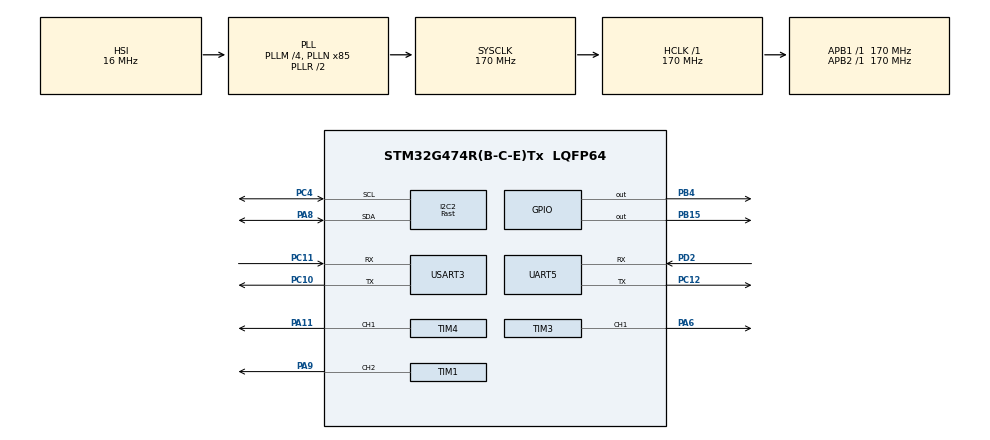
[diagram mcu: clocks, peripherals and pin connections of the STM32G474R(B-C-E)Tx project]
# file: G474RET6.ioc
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Dma.Request0=TIM1_CH2
Dma.TIM1_CH2.0.Direction=DMA_MEMORY_TO_PERIPH
Dma.TIM1_CH2.0.EventEnable=DISABLE
Dma.TIM1_CH2.0.Instance=DMA1_Channel1
Dma.TIM1_CH2.0.MemDataAlignment=DMA_MDATAALIGN_HALFWORD
Dma.TIM1_CH2.0.MemInc=DMA_MINC_ENABLE
Dma.TIM1_CH2.0.Mode=DMA_NORMAL
Dma.TIM1_CH2.0.PeriphDataAlignment=DMA_PDATAALIGN_HALFWORD
Dma.TIM1_CH2.0.PeriphInc=DMA_PINC_DISABLE
Dma.TIM1_CH2.0.Polarity=HAL_DMAMUX_REQ_GEN_RISING
Dma.TIM1_CH2.0.Priority=DMA_PRIORITY_LOW
Dma.TIM1_CH2.0.RequestNumber=1
Dma.TIM1_CH2.0.SignalID=NONE
Dma.TIM1_CH2.0.SyncEnable=DISABLE
Dma.TIM1_CH2.0.SyncPolarity=HAL_DMAMUX_SYNC_NO_EVENT
Dma.TIM1_CH2.0.SyncRequestNumber=1
Dma.TIM1_CH2.0.SyncSignalID=NONE
FREERTOS.Tasks01=defaultTask,8,512,StartDefaultTask,Default,NULL,Dynamic,NULL,NULL;uartTask,24,1024,StartUartTask,Default,NULL,Dynamic,NULL,NULL;sensorTask,45,512,StartSensorTask,Default,NULL,Dynamic,NULL,NULL;stateTask,36,512,StartStateTask,Default,NULL,Dynamic,NULL,NULL;postureTask,36,512,StartPostureTask,Default,NULL,Dynamic,NULL,NULL;envTask,27,512,StartEnvTask,Default,NULL,Dynamic,NULL,NULL;timerTask,27,512,StartTimerTask,Default,NULL,Dynamic,NULL,NULL;uiTask,9,1024,StartUiTask,Default,NULL,Dynamic,NULL,NULL;flashTask,9,512,StartFlashTask,Default,NULL,Dynamic,NULL,NULL
FREERTOS.configCHECK_FOR_STACK_OVERFLOW=2
FREERTOS.configENABLE_FPU=1
FREERTOS.configTOTAL_HEAP_SIZE=32768
FREERTOS.configUSE_IDLE_HOOK=1
FREERTOS.configUSE_MALLOC_FAILED_HOOK=1
I2C2.CustomTiming=Disabled
I2C2.I2C_Speed_Mode=I2C_Fast
I2C2.Timing=0x40621236
IWDG.Prescaler=IWDG_PRESCALER_64
Mcu.Family=STM32G4
Mcu.Name=STM32G474R(B-C-E)Tx
Mcu.Package=LQFP64
NVIC.DMA1_Channel1_IRQn=true\:5\:0\:false\:false\:true\:true\:false\:true\:true
NVIC.PriorityGroup=NVIC_PRIORITYGROUP_4
NVIC.RTC_Alarm_IRQn=true\:5\:0\:false\:false\:true\:true\:true\:true\:true
NVIC.TIM6_DAC_IRQn=true\:15\:0\:false\:false\:true\:false\:false\:true\:true
NVIC.TimeBase=TIM6_DAC_IRQn
NVIC.TimeBaseIP=TIM6
NVIC.UART5_IRQn=true\:5\:0\:false\:false\:true\:true\:true\:true\:true
NVIC.USART3_IRQn=true\:5\:0\:false\:false\:true\:true\:true\:true\:true
PA11.GPIO_Speed=GPIO_SPEED_FREQ_VERY_HIGH
PA11.Signal=S_TIM4_CH1
PA13.Mode=Serial_Wire
PA13.Signal=SYS_JTMS-SWDIO
PA14.Mode=Serial_Wire
PA14.Signal=SYS_JTCK-SWCLK
PA6.GPIO_Speed=GPIO_SPEED_FREQ_VERY_HIGH
PA6.Signal=S_TIM3_CH1
PA8.GPIO_Pu=GPIO_NOPULL
PA8.GPIO_Speed=GPIO_SPEED_FREQ_VERY_HIGH
PA8.Mode=I2C
PA8.Signal=I2C2_SDA
PA9.GPIO_Speed=GPIO_SPEED_FREQ_VERY_HIGH
PA9.Signal=S_TIM1_CH2
PB15.GPIO_ModeDefaultOutputPP=GPIO_MODE_OUTPUT_OD
PB15.GPIO_PuPd=GPIO_NOPULL
PB15.GPIO_Speed=GPIO_SPEED_FREQ_VERY_HIGH
PB15.PinState=GPIO_PIN_SET
PB15.Signal=GPIO_Output
PB4.GPIO_ModeDefaultOutputPP=GPIO_MODE_OUTPUT_PP
PB4.GPIO_PuPd=GPIO_NOPULL
PB4.GPIO_Speed=GPIO_SPEED_FREQ_MEDIUM
PB4.PinState=GPIO_PIN_RESET
PB4.Signal=GPIO_Output
PC10.GPIO_Speed=GPIO_SPEED_FREQ_VERY_HIGH
PC10.Mode=Asynchronous
PC10.Signal=USART3_TX
PC11.GPIO_PuPd=GPIO_PULLUP
PC11.GPIO_Speed=GPIO_SPEED_FREQ_VERY_HIGH
PC11.Mode=Asynchronous
PC11.Signal=USART3_RX
PC12.GPIO_Speed=GPIO_SPEED_FREQ_VERY_HIGH
PC12.Mode=Asynchronous
PC12.Signal=UART5_TX
PC14-OSC32_IN.Mode=LSE-External-Oscillator
PC14-OSC32_IN.Signal=RCC_OSC32_IN
PC15-OSC32_OUT.Mode=LSE-External-Oscillator
PC15-OSC32_OUT.Signal=RCC_OSC32_OUT
PC4.GPIO_Pu=GPIO_NOPULL
PC4.GPIO_Speed=GPIO_SPEED_FREQ_VERY_HIGH
PC4.Mode=I2C
PC4.Signal=I2C2_SCL
PD2.GPIO_PuPd=GPIO_PULLUP
PD2.GPIO_Speed=GPIO_SPEED_FREQ_VERY_HIGH
PD2.Mode=Asynchronous
PD2.Signal=UART5_RX
ProjectManager.HeapSize=0x200
ProjectManager.StackSize=0x400
ProjectManager.TargetToolchain=CMake
RCC.ADC12Freq_Value=170000000
RCC.ADC345Freq_Value=170000000
RCC.AHBFreq_Value=170000000
RCC.APB1Freq_Value=170000000
RCC.APB1TimFreq_Value=170000000
RCC.APB2Freq_Value=170000000
RCC.APB2TimFreq_Value=170000000
RCC.CortexFreq_Value=170000000
RCC.EXTERNAL_CLOCK_VALUE=12288000
RCC.HCLKFreq_Value=170000000
RCC.HSE_VALUE=8000000
RCC.HSI48_VALUE=48000000
RCC.HSI_VALUE=16000000
RCC.PLLM=RCC_PLLM_DIV4
RCC.PLLN=85
RCC.RTCClockSelection=RCC_RTCCLKSOURCE_LSE
RCC.SYSCLKFreq_VALUE=170000000
RCC.SYSCLKSource=RCC_SYSCLKSOURCE_PLLCLK
RCC.USBFreq_Value=170000000
RCC.VCOOutputFreq_Value=340000000
RTC.Alarm-Alarm\ A=RTC_ALARM_A
RTC.Format=RTC_FORMAT_BIN
SH.S_TIM1_CH2.0=TIM1_CH2,PWM Generation2 CH2
SH.S_TIM3_CH1.0=TIM3_CH1,PWM Generation1 CH1
SH.S_TIM4_CH1.0=TIM4_CH1,PWM Generation1 CH1
TIM1.AutoReloadPreload=TIM_AUTORELOAD_PRELOAD_ENABLE
TIM1.Channel-PWM\ Generation2\ CH2=TIM_CHANNEL_2
TIM1.PeriodNoDither=212
TIM1.TIM_MasterOutputTrigger=TIM_TRGO_RESET
TIM1.TIM_MasterOutputTrigger2=TIM_TRGO2_RESET
TIM3.Channel-PWM\ Generation1\ CH1=TIM_CHANNEL_1
TIM3.PeriodNoDither=42499
TIM3.PulseNoDither_1=21250
TIM4.AutoReloadPreload=TIM_AUTORELOAD_PRELOAD_ENABLE
TIM4.Channel-PWM\ Generation1\ CH1=TIM_CHANNEL_1
TIM4.PeriodNoDither=8500
TIM4.TIM_MasterOutputTrigger=TIM_TRGO_RESET
USART3.VirtualMode-Asynchronous=VM_ASYNC
VP_FREERTOS_VS_CMSIS_V2.Mode=CMSIS_V2
VP_IWDG_VS_IWDG.Mode=IWDG_Activate
VP_RTC_VS_RTC_Activate.Mode=RTC_Enabled
VP_RTC_VS_RTC_Alarm_A_Intern.Mode=Alarm A
VP_RTC_VS_RTC_Calendar.Mode=RTC_Calendar
VP_SYS_VS_DBSignals.Mode=DisableDeadBatterySignals
VP_SYS_VS_tim6.Mode=TIM6
VP_TIM1_VS_ClockSourceINT.Mode=Internal
VP_TIM3_VS_ClockSourceINT.Mode=Internal
VP_TIM4_VS_ClockSourceINT.Mode=Internal
board=custom

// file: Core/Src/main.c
/* USER CODE BEGIN Header */
/**
  ******************************************************************************
  * @file           : main.c
  * @brief          : Main program body
  ******************************************************************************
  * @attention
  *
  * Copyright (c) 2026 STMicroelectronics.
  * All rights reserved.
  *
  * This software is licensed under terms that can be found in the LICENSE file
  * in the root directory of this software component.
  * If no LICENSE file comes with this software, it is provided AS-IS.
  *
  ******************************************************************************
  */
/* USER CODE END Header */
#include "main.h"
#include "cmsis_os.h"

/* USER CODE BEGIN Includes */
#include "app_rtos.h"
#include "app_tasks.h"
/* USER CODE END Includes */

I2C_HandleTypeDef hi2c2;

IWDG_HandleTypeDef hiwdg;

RTC_HandleTypeDef hrtc;

TIM_HandleTypeDef htim1;
TIM_HandleTypeDef htim3;
TIM_HandleTypeDef htim4;
DMA_HandleTypeDef hdma_tim1_ch2;

UART_HandleTypeDef huart5;
UART_HandleTypeDef huart3;

/* Definitions for defaultTask */
osThreadId_t defaultTaskHandle;
const osThreadAttr_t defaultTask_attributes = {
  .name = "defaultTask",
  .priority = (osPriority_t) osPriorityLow,
  .stack_size = 512 * 4
};
/* Definitions for uartTask */
osThreadId_t uartTaskHandle;
const osThreadAttr_t uartTask_attributes = {
  .name = "uartTask",
  .priority = (osPriority_t) osPriorityNormal,
  .stack_size = 1024 * 4
};
/* Definitions for sensorTask */
osThreadId_t sensorTaskHandle;
const osThreadAttr_t sensorTask_attributes = {
  .name = "sensorTask",
  .priority = (osPriority_t) osPriorityHigh5,
  .stack_size = 512 * 4
};
/* Definitions for stateTask */
osThreadId_t stateTaskHandle;
const osThreadAttr_t stateTask_attributes = {
  .name = "stateTask",
  .priority = (osPriority_t) osPriorityAboveNormal4,
  .stack_size = 512 * 4
};
/* Definitions for postureTask */
osThreadId_t postureTaskHandle;
const osThreadAttr_t postureTask_attributes = {
  .name = "postureTask",
  .priority = (osPriority_t) osPriorityAboveNormal4,
  .stack_size = 512 * 4
};
/* Definitions for envTask */
osThreadId_t envTaskHandle;
const osThreadAttr_t envTask_attributes = {
  .name = "envTask",
  .priority = (osPriority_t) osPriorityNormal3,
  .stack_size = 512 * 4
};
/* Definitions for timerTask */
osThreadId_t timerTaskHandle;
const osThreadAttr_t timerTask_attributes = {
  .name = "timerTask",
  .priority = (osPriority_t) osPriorityNormal3,
  .stack_size = 512 * 4
};
/* Definitions for uiTask */
osThreadId_t uiTaskHandle;
const osThreadAttr_t uiTask_attributes = {
  .name = "uiTask",
  .priority = (osPriority_t) osPriorityLow1,
  .stack_size = 1024 * 4
};
/* Definitions for flashTask */
osThreadId_t flashTaskHandle;
const osThreadAttr_t flashTask_attributes = {
  .name = "flashTask",
  .priority = (osPriority_t) osPriorityLow1,
  .stack_size = 512 * 4
};
/* Definitions for initTask */
osThreadId_t initTaskHandle;
const osThreadAttr_t initTask_attributes = {
  .name = "initTask",
  .priority = (osPriority_t) osPriorityAboveNormal2,
  .stack_size = 512 * 4
};

void SystemClock_Config(void);
static void MX_GPIO_Init(void);
static void MX_DMA_Init(void);
static void MX_I2C2_Init(void);
static void MX_TIM1_Init(void);
static void MX_UART5_Init(void);
static void MX_USART3_UART_Init(void);
static void MX_TIM3_Init(void);
static void MX_TIM4_Init(void);
static void MX_IWDG_Init(void);
static void MX_RTC_Init(void);
void StartDefaultTask(void *argument);
void StartUartTask(void *argument);
void StartSensorTask(void *argument);
void StartStateTask(void *argument);
void StartPostureTask(void *argument);
void StartEnvTask(void *argument);
void StartTimerTask(void *argument);
void StartUiTask(void *argument);
void StartFlashTask(void *argument);
void StartInitTask(void *argument);

int main(void)
{

  /* MCU Configuration--------------------------------------------------------*/

  /* Reset of all peripherals, Initializes the Flash interface and the Systick. */
  HAL_Init();

  /* Configure the system clock */
  SystemClock_Config();

  /* Initialize all configured peripherals */
  MX_GPIO_Init();
  MX_DMA_Init();
  MX_I2C2_Init();
  MX_TIM1_Init();
  MX_UART5_Init();
  MX_USART3_UART_Init();
  MX_TIM3_Init();
  MX_TIM4_Init();
  MX_IWDG_Init();
  MX_RTC_Init();

  /* Init scheduler */
  osKernelInitialize();

  /* USER CODE BEGIN RTOS_QUEUES */
  /* add queues, ... */
  App_Init();   /* 创建队列/互斥, 初始化 BSP 与各服务 */
  /* USER CODE END RTOS_QUEUES */

  /* Create the thread(s) */
  /* creation of defaultTask */
  defaultTaskHandle = osThreadNew(StartDefaultTask, NULL, &defaultTask_attributes);

  /* creation of uartTask */
  uartTaskHandle = osThreadNew(StartUartTask, NULL, &uartTask_attributes);

  /* creation of sensorTask */
  sensorTaskHandle = osThreadNew(StartSensorTask, NULL, &sensorTask_attributes);

  /* creation of stateTask */
  stateTaskHandle = osThreadNew(StartStateTask, NULL, &stateTask_attributes);

  /* creation of postureTask */
  postureTaskHandle = osThreadNew(StartPostureTask, NULL, &postureTask_attributes);

  /* creation of envTask */
  envTaskHandle = osThreadNew(StartEnvTask, NULL, &envTask_attributes);

  /* creation of timerTask */
  timerTaskHandle = osThreadNew(StartTimerTask, NULL, &timerTask_attributes);

  /* creation of uiTask */
  uiTaskHandle = osThreadNew(StartUiTask, NULL, &uiTask_attributes);

  /* creation of flashTask */
  flashTaskHandle = osThreadNew(StartFlashTask, NULL, &flashTask_attributes);

  /* creation of initTask: 调度器启动后初始化 I2C 外设(避免调度器前互斥卡死) */
  initTaskHandle = osThreadNew(StartInitTask, NULL, &initTask_attributes);

  /* Start scheduler */
  osKernelStart();

  /* We should never get here as control is now taken by the scheduler */

  /* Infinite loop */
  while (1)
  {

  }
}

void SystemClock_Config(void)
{
  RCC_OscInitTypeDef RCC_OscInitStruct = {0};
  RCC_ClkInitTypeDef RCC_ClkInitStruct = {0};

  /** Configure the main internal regulator output voltage
  */
  HAL_PWREx_ControlVoltageScaling(PWR_REGULATOR_VOLTAGE_SCALE1_BOOST);

  /** Configure LSE Drive Capability
  */
  HAL_PWR_EnableBkUpAccess();
  __HAL_RCC_LSEDRIVE_CONFIG(RCC_LSEDRIVE_LOW);

  /** Initializes the RCC Oscillators according to the specified parameters
  * in the RCC_OscInitTypeDef structure.
  */
  RCC_OscInitStruct.OscillatorType = RCC_OSCILLATORTYPE_HSI|RCC_OSCILLATORTYPE_LSI
                              |RCC_OSCILLATORTYPE_LSE;
  RCC_OscInitStruct.LSEState = RCC_LSE_ON;
  RCC_OscInitStruct.HSIState = RCC_HSI_ON;
  RCC_OscInitStruct.HSICalibrationValue = RCC_HSICALIBRATION_DEFAULT;
  RCC_OscInitStruct.LSIState = RCC_LSI_ON;
  RCC_OscInitStruct.PLL.PLLState = RCC_PLL_ON;
  RCC_OscInitStruct.PLL.PLLSource = RCC_PLLSOURCE_HSI;
  RCC_OscInitStruct.PLL.PLLM = RCC_PLLM_DIV4;
  RCC_OscInitStruct.PLL.PLLN = 85;
  RCC_OscInitStruct.PLL.PLLP = RCC_PLLP_DIV2;
  RCC_OscInitStruct.PLL.PLLQ = RCC_PLLQ_DIV2;
  RCC_OscInitStruct.PLL.PLLR = RCC_PLLR_DIV2;
  if (HAL_RCC_OscConfig(&RCC_OscInitStruct) != HAL_OK)
  {
    Error_Handler();
  }

  /** Initializes the CPU, AHB and APB buses clocks
  */
  RCC_ClkInitStruct.ClockType = RCC_CLOCKTYPE_HCLK|RCC_CLOCKTYPE_SYSCLK
                              |RCC_CLOCKTYPE_PCLK1|RCC_CLOCKTYPE_PCLK2;
  RCC_ClkInitStruct.SYSCLKSource = RCC_SYSCLKSOURCE_PLLCLK;
  RCC_ClkInitStruct.AHBCLKDivider = RCC_SYSCLK_DIV1;
  RCC_ClkInitStruct.APB1CLKDivider = RCC_HCLK_DIV1;
  RCC_ClkInitStruct.APB2CLKDivider = RCC_HCLK_DIV1;

  if (HAL_RCC_ClockConfig(&RCC_ClkInitStruct, FLASH_LATENCY_4) != HAL_OK)
  {
    Error_Handler();
  }
}

static void MX_I2C2_Init(void)
{

  hi2c2.Instance = I2C2;
  hi2c2.Init.Timing = 0x40621236;
  hi2c2.Init.OwnAddress1 = 0;
  hi2c2.Init.AddressingMode = I2C_ADDRESSINGMODE_7BIT;
  hi2c2.Init.DualAddressMode = I2C_DUALADDRESS_DISABLE;
  hi2c2.Init.OwnAddress2 = 0;
  hi2c2.Init.OwnAddress2Masks = I2C_OA2_NOMASK;
  hi2c2.Init.GeneralCallMode = I2C_GENERALCALL_DISABLE;
  hi2c2.Init.NoStretchMode = I2C_NOSTRETCH_DISABLE;
  if (HAL_I2C_Init(&hi2c2) != HAL_OK)
  {
    Error_Handler();
  }

  /** Configure Analogue filter
  */
  if (HAL_I2CEx_ConfigAnalogFilter(&hi2c2, I2C_ANALOGFILTER_ENABLE) != HAL_OK)
  {
    Error_Handler();
  }

  /** Configure Digital filter
  */
  if (HAL_I2CEx_ConfigDigitalFilter(&hi2c2, 0) != HAL_OK)
  {
    Error_Handler();
  }

}

static void MX_IWDG_Init(void)
{

  hiwdg.Instance = IWDG;
  hiwdg.Init.Prescaler = IWDG_PRESCALER_64;
  hiwdg.Init.Window = 4095;
  hiwdg.Init.Reload = 4095;
  if (HAL_IWDG_Init(&hiwdg) != HAL_OK)
  {
    Error_Handler();
  }

}

static void MX_RTC_Init(void)
{

  RTC_TimeTypeDef sTime = {0};
  RTC_DateTypeDef sDate = {0};
  RTC_AlarmTypeDef sAlarm = {0};

  /** Initialize RTC Only
  */
  hrtc.Instance = RTC;
  hrtc.Init.HourFormat = RTC_HOURFORMAT_24;
  hrtc.Init.AsynchPrediv = 127;
  hrtc.Init.SynchPrediv = 255;
  hrtc.Init.OutPut = RTC_OUTPUT_DISABLE;
  hrtc.Init.OutPutRemap = RTC_OUTPUT_REMAP_NONE;
  hrtc.Init.OutPutPolarity = RTC_OUTPUT_POLARITY_HIGH;
  hrtc.Init.OutPutType = RTC_OUTPUT_TYPE_OPENDRAIN;
  hrtc.Init.OutPutPullUp = RTC_OUTPUT_PULLUP_NONE;
  if (HAL_RTC_Init(&hrtc) != HAL_OK)
  {
    Error_Handler();
  }

  /* USER CODE BEGIN Check_RTC_BKUP */
  /* 仅在首次上电时设置时间; 复位后保持 RTC 时间(备份域由 VBAT 供电, 系统复位不清) */
  if (HAL_RTCEx_BKUPRead(&hrtc, RTC_BKP_DR0) == 0x524E4334u)
  {
    return;   /* 已初始化过, 保持当前时间 */
  }
  HAL_RTCEx_BKUPWrite(&hrtc, RTC_BKP_DR0, 0x524E4334u);
  /* USER CODE END Check_RTC_BKUP */

  /** Initialize RTC and set the Time and Date
  */
  sTime.Hours = 0;
  sTime.Minutes = 0;
  sTime.Seconds = 0;
  sTime.SubSeconds = 0;
  sTime.DayLightSaving = RTC_DAYLIGHTSAVING_NONE;
  sTime.StoreOperation = RTC_STOREOPERATION_RESET;
  if (HAL_RTC_SetTime(&hrtc, &sTime, RTC_FORMAT_BIN) != HAL_OK)
  {
    Error_Handler();
  }
  sDate.WeekDay = RTC_WEEKDAY_MONDAY;
  sDate.Month = RTC_MONTH_JANUARY;
  sDate.Date = 1;
  sDate.Year = 0;
  if (HAL_RTC_SetDate(&hrtc, &sDate, RTC_FORMAT_BIN) != HAL_OK)
  {
    Error_Handler();
  }

  /** Enable the Alarm A
  */
  sAlarm.AlarmTime.Hours = 0;
  sAlarm.AlarmTime.Minutes = 0;
  sAlarm.AlarmTime.Seconds = 0;
  sAlarm.AlarmTime.SubSeconds = 0;
  sAlarm.AlarmMask = RTC_ALARMMASK_NONE;
  sAlarm.AlarmSubSecondMask = RTC_ALARMSUBSECONDMASK_ALL;
  sAlarm.AlarmDateWeekDaySel = RTC_ALARMDATEWEEKDAYSEL_DATE;
  sAlarm.AlarmDateWeekDay = 1;
  sAlarm.Alarm = RTC_ALARM_A;
  if (HAL_RTC_SetAlarm_IT(&hrtc, &sAlarm, RTC_FORMAT_BIN) != HAL_OK)
  {
    Error_Handler();
  }

}

static void MX_TIM1_Init(void)
{

  TIM_ClockConfigTypeDef sClockSourceConfig = {0};
  TIM_MasterConfigTypeDef sMasterConfig = {0};
  TIM_OC_InitTypeDef sConfigOC = {0};
  TIM_BreakDeadTimeConfigTypeDef sBreakDeadTimeConfig = {0};

  htim1.Instance = TIM1;
  htim1.Init.Prescaler = 0;
  htim1.Init.CounterMode = TIM_COUNTERMODE_UP;
  htim1.Init.Period = 212;
  htim1.Init.ClockDivision = TIM_CLOCKDIVISION_DIV1;
  htim1.Init.RepetitionCounter = 0;
  htim1.Init.AutoReloadPreload = TIM_AUTORELOAD_PRELOAD_ENABLE;
  if (HAL_TIM_Base_Init(&htim1) != HAL_OK)
  {
    Error_Handler();
  }
  sClockSourceConfig.ClockSource = TIM_CLOCKSOURCE_INTERNAL;
  if (HAL_TIM_ConfigClockSource(&htim1, &sClockSourceConfig) != HAL_OK)
  {
    Error_Handler();
  }
  if (HAL_TIM_PWM_Init(&htim1) != HAL_OK)
  {
    Error_Handler();
  }
  sMasterConfig.MasterOutputTrigger = TIM_TRGO_RESET;
  sMasterConfig.MasterOutputTrigger2 = TIM_TRGO2_RESET;
  sMasterConfig.MasterSlaveMode = TIM_MASTERSLAVEMODE_DISABLE;
  if (HAL_TIMEx_MasterConfigSynchronization(&htim1, &sMasterConfig) != HAL_OK)
  {
    Error_Handler();
  }
  sConfigOC.OCMode = TIM_OCMODE_PWM1;
  sConfigOC.Pulse = 0;
  sConfigOC.OCPolarity = TIM_OCPOLARITY_HIGH;
  sConfigOC.OCNPolarity = TIM_OCNPOLARITY_HIGH;
  sConfigOC.OCFastMode = TIM_OCFAST_DISABLE;
  sConfigOC.OCIdleState = TIM_OCIDLESTATE_RESET;
  sConfigOC.OCNIdleState = TIM_OCNIDLESTATE_RESET;
  if (HAL_TIM_PWM_ConfigChannel(&htim1, &sConfigOC, TIM_CHANNEL_2) != HAL_OK)
  {
    Error_Handler();
  }
  sBreakDeadTimeConfig.OffStateRunMode = TIM_OSSR_DISABLE;
  sBreakDeadTimeConfig.OffStateIDLEMode = TIM_OSSI_DISABLE;
  sBreakDeadTimeConfig.LockLevel = TIM_LOCKLEVEL_OFF;
  sBreakDeadTimeConfig.DeadTime = 0;
  sBreakDeadTimeConfig.BreakState = TIM_BREAK_DISABLE;
  sBreakDeadTimeConfig.BreakPolarity = TIM_BREAKPOLARITY_HIGH;
  sBreakDeadTimeConfig.BreakFilter = 0;
  sBreakDeadTimeConfig.BreakAFMode = TIM_BREAK_AFMODE_INPUT;
  sBreakDeadTimeConfig.Break2State = TIM_BREAK2_DISABLE;
  sBreakDeadTimeConfig.Break2Polarity = TIM_BREAK2POLARITY_HIGH;
  sBreakDeadTimeConfig.Break2Filter = 0;
  sBreakDeadTimeConfig.Break2AFMode = TIM_BREAK_AFMODE_INPUT;
  sBreakDeadTimeConfig.AutomaticOutput = TIM_AUTOMATICOUTPUT_DISABLE;
  if (HAL_TIMEx_ConfigBreakDeadTime(&htim1, &sBreakDeadTimeConfig) != HAL_OK)
  {
    Error_Handler();
  }
  HAL_TIM_MspPostInit(&htim1);

}

static void MX_TIM3_Init(void)
{

  TIM_ClockConfigTypeDef sClockSourceConfig = {0};
  TIM_MasterConfigTypeDef sMasterConfig = {0};
  TIM_OC_InitTypeDef sConfigOC = {0};

  htim3.Instance = TIM3;
  htim3.Init.Prescaler = 0;
  htim3.Init.CounterMode = TIM_COUNTERMODE_UP;
  htim3.Init.Period = 42499;
  htim3.Init.ClockDivision = TIM_CLOCKDIVISION_DIV1;
  htim3.Init.AutoReloadPreload = TIM_AUTORELOAD_PRELOAD_DISABLE;
  if (HAL_TIM_Base_Init(&htim3) != HAL_OK)
  {
    Error_Handler();
  }
  sClockSourceConfig.ClockSource = TIM_CLOCKSOURCE_INTERNAL;
  if (HAL_TIM_ConfigClockSource(&htim3, &sClockSourceConfig) != HAL_OK)
  {
    Error_Handler();
  }
  if (HAL_TIM_PWM_Init(&htim3) != HAL_OK)
  {
    Error_Handler();
  }
  sMasterConfig.MasterOutputTrigger = TIM_TRGO_RESET;
  sMasterConfig.MasterSlaveMode = TIM_MASTERSLAVEMODE_DISABLE;
  if (HAL_TIMEx_MasterConfigSynchronization(&htim3, &sMasterConfig) != HAL_OK)
  {
    Error_Handler();
  }
  sConfigOC.OCMode = TIM_OCMODE_PWM1;
  sConfigOC.Pulse = 21250;
  sConfigOC.OCPolarity = TIM_OCPOLARITY_HIGH;
  sConfigOC.OCFastMode = TIM_OCFAST_DISABLE;
  if (HAL_TIM_PWM_ConfigChannel(&htim3, &sConfigOC, TIM_CHANNEL_1) != HAL_OK)
  {
    Error_Handler();
  }
  HAL_TIM_MspPostInit(&htim3);

}

static void MX_TIM4_Init(void)
{

  TIM_ClockConfigTypeDef sClockSourceConfig = {0};
  TIM_MasterConfigTypeDef sMasterConfig = {0};
  TIM_OC_InitTypeDef sConfigOC = {0};

  htim4.Instance = TIM4;
  htim4.Init.Prescaler = 0;
  htim4.Init.CounterMode = TIM_COUNTERMODE_UP;
  htim4.Init.Period = 8500;
  htim4.Init.ClockDivision = TIM_CLOCKDIVISION_DIV1;
  htim4.Init.AutoReloadPreload = TIM_AUTORELOAD_PRELOAD_ENABLE;
  if (HAL_TIM_Base_Init(&htim4) != HAL_OK)
  {
    Error_Handler();
  }
  sClockSourceConfig.ClockSource = TIM_CLOCKSOURCE_INTERNAL;
  if (HAL_TIM_ConfigClockSource(&htim4, &sClockSourceConfig) != HAL_OK)
  {
    Error_Handler();
  }
  if (HAL_TIM_PWM_Init(&htim4) != HAL_OK)
  {
    Error_Handler();
  }
  sMasterConfig.MasterOutputTrigger = TIM_TRGO_RESET;
  sMasterConfig.MasterSlaveMode = TIM_MASTERSLAVEMODE_DISABLE;
  if (HAL_TIMEx_MasterConfigSynchronization(&htim4, &sMasterConfig) != HAL_OK)
  {
    Error_Handler();
  }
  sConfigOC.OCMode = TIM_OCMODE_PWM1;
  sConfigOC.Pulse = 0;
  sConfigOC.OCPolarity = TIM_OCPOLARITY_HIGH;
  sConfigOC.OCFastMode = TIM_OCFAST_DISABLE;
  if (HAL_TIM_PWM_ConfigChannel(&htim4, &sConfigOC, TIM_CHANNEL_1) != HAL_OK)
  {
    Error_Handler();
  }
  HAL_TIM_MspPostInit(&htim4);

}

static void MX_UART5_Init(void)
{

  huart5.Instance = UART5;
  huart5.Init.BaudRate = 9600;   /* 临时实验: 验证屏幕是否 9600 */
  huart5.Init.WordLength = UART_WORDLENGTH_8B;
  huart5.Init.StopBits = UART_STOPBITS_1;
  huart5.Init.Parity = UART_PARITY_NONE;
  huart5.Init.Mode = UART_MODE_TX_RX;
  huart5.Init.HwFlowCtl = UART_HWCONTROL_NONE;
  huart5.Init.OverSampling = UART_OVERSAMPLING_16;
  huart5.Init.OneBitSampling = UART_ONE_BIT_SAMPLE_DISABLE;
  huart5.Init.ClockPrescaler = UART_PRESCALER_DIV1;
  huart5.AdvancedInit.AdvFeatureInit = UART_ADVFEATURE_NO_INIT;
  if (HAL_UART_Init(&huart5) != HAL_OK)
  {
    Error_Handler();
  }
  if (HAL_UARTEx_SetTxFifoThreshold(&huart5, UART_TXFIFO_THRESHOLD_1_8) != HAL_OK)
  {
    Error_Handler();
  }
  if (HAL_UARTEx_SetRxFifoThreshold(&huart5, UART_RXFIFO_THRESHOLD_1_8) != HAL_OK)
  {
    Error_Handler();
  }
  if (HAL_UARTEx_DisableFifoMode(&huart5) != HAL_OK)
  {
    Error_Handler();
  }

}

static void MX_USART3_UART_Init(void)
{

  huart3.Instance = USART3;
  huart3.Init.BaudRate = 115200;
  huart3.Init.WordLength = UART_WORDLENGTH_8B;
  huart3.Init.StopBits = UART_STOPBITS_1;
  huart3.Init.Parity = UART_PARITY_NONE;
  huart3.Init.Mode = UART_MODE_TX_RX;
  huart3.Init.HwFlowCtl = UART_HWCONTROL_NONE;
  huart3.Init.OverSampling = UART_OVERSAMPLING_16;
  huart3.Init.OneBitSampling = UART_ONE_BIT_SAMPLE_DISABLE;
  huart3.Init.ClockPrescaler = UART_PRESCALER_DIV1;
  huart3.AdvancedInit.AdvFeatureInit = UART_ADVFEATURE_NO_INIT;
  if (HAL_UART_Init(&huart3) != HAL_OK)
  {
    Error_Handler();
  }
  if (HAL_UARTEx_SetTxFifoThreshold(&huart3, UART_TXFIFO_THRESHOLD_1_8) != HAL_OK)
  {
    Error_Handler();
  }
  if (HAL_UARTEx_SetRxFifoThreshold(&huart3, UART_RXFIFO_THRESHOLD_1_8) != HAL_OK)
  {
    Error_Handler();
  }
  if (HAL_UARTEx_DisableFifoMode(&huart3) != HAL_OK)
  {
    Error_Handler();
  }

}

static void MX_DMA_Init(void)
{

  /* DMA controller clock enable */
  __HAL_RCC_DMAMUX1_CLK_ENABLE();
  __HAL_RCC_DMA1_CLK_ENABLE();

  /* DMA interrupt init */
  /* DMA1_Channel1_IRQn interrupt configuration */
  HAL_NVIC_SetPriority(DMA1_Channel1_IRQn, 5, 0);
  HAL_NVIC_EnableIRQ(DMA1_Channel1_IRQn);

}

static void MX_GPIO_Init(void)
{
  GPIO_InitTypeDef GPIO_InitStruct = {0};

  /* GPIO Ports Clock Enable */
  __HAL_RCC_GPIOC_CLK_ENABLE();
  __HAL_RCC_GPIOA_CLK_ENABLE();
  __HAL_RCC_GPIOB_CLK_ENABLE();
  __HAL_RCC_GPIOD_CLK_ENABLE();

  /*Configure GPIO pin Output Level */
  HAL_GPIO_WritePin(GPIOB, GPIO_PIN_15, GPIO_PIN_SET);

  /*Configure GPIO pin Output Level */
  HAL_GPIO_WritePin(GPIOB, GPIO_PIN_4, GPIO_PIN_RESET);

  /*Configure GPIO pin : PB15 */
  GPIO_InitStruct.Pin = GPIO_PIN_15;
  GPIO_InitStruct.Mode = GPIO_MODE_OUTPUT_OD;
  GPIO_InitStruct.Pull = GPIO_NOPULL;
  GPIO_InitStruct.Speed = GPIO_SPEED_FREQ_VERY_HIGH;
  HAL_GPIO_Init(GPIOB, &GPIO_InitStruct);

  /*Configure GPIO pin : PB4 */
  GPIO_InitStruct.Pin = GPIO_PIN_4;
  GPIO_InitStruct.Mode = GPIO_MODE_OUTPUT_PP;
  GPIO_InitStruct.Pull = GPIO_NOPULL;
  GPIO_InitStruct.Speed = GPIO_SPEED_FREQ_MEDIUM;
  HAL_GPIO_Init(GPIOB, &GPIO_InitStruct);

}

void StartInitTask(void *argument)
{
  /* USER CODE BEGIN StartInitTask */
  App_TaskInit(argument);
  for(;;){ osDelay(10);}
  /* USER CODE END StartInitTask */
}

void StartDefaultTask(void *argument)
{
  /* USER CODE BEGIN 5 */
  App_TaskDefault(argument);
  for(;;){ osDelay(10);}
  /* USER CODE END 5 */
}

void StartUartTask(void *argument)
{
  /* USER CODE BEGIN StartUartTask */
  App_TaskUart(argument);
  for(;;){ osDelay(10);}
  /* USER CODE END StartUartTask */
}

void StartSensorTask(void *argument)
{
  /* USER CODE BEGIN StartSensorTask */
  App_TaskSensor(argument);
  for(;;){ osDelay(10);}
  /* USER CODE END StartSensorTask */
}

void StartStateTask(void *argument)
{
  /* USER CODE BEGIN StartStateTask */
  App_TaskState(argument);
  for(;;){ osDelay(10);}
  /* USER CODE END StartStateTask */
}

void StartPostureTask(void *argument)
{
  /* USER CODE BEGIN StartPostureTask */
  App_TaskPosture(argument);
  for(;;){ osDelay(10);}
  /* USER CODE END StartPostureTask */
}

void StartEnvTask(void *argument)
{
  /* USER CODE BEGIN StartEnvTask */
  App_TaskEnv(argument);
  for(;;){ osDelay(10);}
  /* USER CODE END StartEnvTask */
}

void StartTimerTask(void *argument)
{
  /* USER CODE BEGIN StartTimerTask */
  App_TaskTimer(argument);
  for(;;){ osDelay(10);}
  /* USER CODE END StartTimerTask */
}

void StartUiTask(void *argument)
{
  /* USER CODE BEGIN StartUiTask */
  App_TaskUi(argument);
  for(;;){ osDelay(10);}
  /* USER CODE END StartUiTask */
}

void StartFlashTask(void *argument)
{
  /* USER CODE BEGIN StartFlashTask */
  App_TaskFlash(argument);
  for(;;){ osDelay(10);}
  /* USER CODE END StartFlashTask */
}

void HAL_TIM_PeriodElapsedCallback(TIM_HandleTypeDef *htim)
{
  if (htim->Instance == TIM6)
  {
    HAL_IncTick();
  }
}

void Error_Handler(void)
{
  __disable_irq();
  while (1)
  {
  }
}

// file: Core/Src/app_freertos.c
/* USER CODE BEGIN Header */
/**
  ******************************************************************************
  * File Name          : app_freertos.c
  * Description        : Code for freertos applications
  ******************************************************************************
  * @attention
  *
  * Copyright (c) 2026 STMicroelectronics.
  * All rights reserved.
  *
  * This software is licensed under terms that can be found in the LICENSE file
  * in the root directory of this software component.
  * If no LICENSE file comes with this software, it is provided AS-IS.
  *
  ******************************************************************************
  */
/* USER CODE END Header */

#include "FreeRTOS.h"
#include "task.h"
#include "main.h"

/* Hook prototypes */
void vApplicationIdleHook(void);
void vApplicationStackOverflowHook(xTaskHandle xTask, signed char *pcTaskName);
void vApplicationMallocFailedHook(void);

/* USER CODE BEGIN 2 */
void vApplicationIdleHook( void )
{
   /* vApplicationIdleHook() will only be called if configUSE_IDLE_HOOK is set
   to 1 in FreeRTOSConfig.h. It will be called on each iteration of the idle
   task. It is essential that code added to this hook function never attempts
   to block in any way (for example, call xQueueReceive() with a block time
   specified, or call vTaskDelay()). If the application makes use of the
   vTaskDelete() API function (as this demo application does) then it is also
   important that vApplicationIdleHook() is permitted to return to its calling
   function, because it is the responsibility of the idle task to clean up
   memory allocated by the kernel to any task that has since been deleted. */
}
/* USER CODE END 2 */

/* USER CODE BEGIN 4 */
void vApplicationStackOverflowHook(xTaskHandle xTask, signed char *pcTaskName)
{
   /* Run time stack overflow checking is performed if
   configCHECK_FOR_STACK_OVERFLOW is defined to 1 or 2. This hook function is
   called if a stack overflow is detected. */
}
/* USER CODE END 4 */

/* USER CODE BEGIN 5 */
void vApplicationMallocFailedHook(void)
{
   /* vApplicationMallocFailedHook() will only be called if
   configUSE_MALLOC_FAILED_HOOK is set to 1 in FreeRTOSConfig.h. It is a hook
   function that will get called if a call to pvPortMalloc() fails.
   pvPortMalloc() is called internally by the kernel whenever a task, queue,
   timer or semaphore is created. It is also called by various parts of the
   demo application. If heap_1.c or heap_2.c are used, then the size of the
   heap available to pvPortMalloc() is defined by configTOTAL_HEAP_SIZE in
   FreeRTOSConfig.h, and the xPortGetFreeHeapSize() API function can be used
   to query the size of free heap space that remains (although it does not
   provide information on how the remaining heap might be fragmented). */
}
/* USER CODE END 5 */
